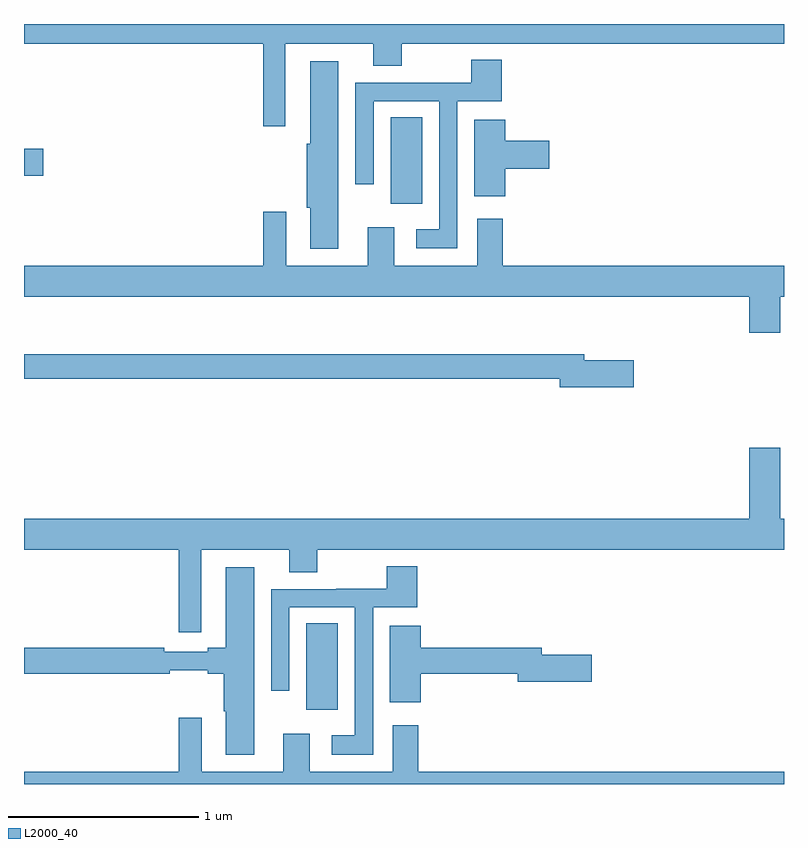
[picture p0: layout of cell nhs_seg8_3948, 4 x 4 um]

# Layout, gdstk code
import gdstk
lib = gdstk.Library(unit=1e-6, precision=1e-09)
def R(c, l, rs):  # rectangles x0, y0, x1, y1
    for r in rs: c.add(gdstk.rectangle(r[:2], r[2:], *l))
def P(c, l, *ps):  # polygons
    for p in ps: c.add(gdstk.Polygon(p, *l))
L2000_40 = (2000, 40)

nhs_seg8_3948 = lib.new_cell('nhs_seg8_3948')
R(nhs_seg8_3948, L2000_40, [(354.485,1150.29,354.652,1150.745), (354.929,1152.954,355.096,1153.409), (353,1153.102,353.101,1153.244)])
P(nhs_seg8_3948, L2000_40, [(354.376,1153.796),(354.839,1153.796),(354.839,1153.679),(354.987,1153.679),(354.987,1153.796),(357,1153.796),(357,1153.9),(353,1153.9),(353,1153.796),(354.259,1153.796),(354.259,1153.362),(354.376,1153.362)],
  [(355.281,1153.494),(355.514,1153.494),(355.514,1153.711),(355.354,1153.711),(355.354,1153.592),(355.088,1153.592),(355.088,1153.59),(354.744,1153.59),(354.744,1153.056),(354.84,1153.056),(354.84,1153.494),(355.185,1153.494),(355.185,1152.82),(355.065,1152.82),(355.065,1152.719),(355.281,1152.719)],
  [(354.655,1153.705),(354.506,1153.705),(354.506,1153.269),(354.488,1153.269),(354.488,1152.933),(354.506,1152.933),(354.506,1152.717),(354.655,1152.717)],
  [(355.532,1153.139),(355.765,1153.139),(355.765,1153.286),(355.532,1153.286),(355.532,1153.396),(355.37,1153.396),(355.37,1152.993),(355.532,1152.993)],
  [(356.98,1152.464),(357,1152.464),(357,1152.628),(355.52,1152.628),(355.52,1152.874),(355.385,1152.874),(355.385,1152.628),(354.949,1152.628),(354.949,1152.829),(354.809,1152.829),(354.809,1152.628),(354.379,1152.628),(354.379,1152.913),(354.258,1152.913),(354.258,1152.628),(353,1152.628),(353,1152.464),(356.816,1152.464),(356.816,1152.276),(356.98,1152.276)],
  [(356.209,1152.129),(355.948,1152.129),(355.948,1152.163),(353,1152.163),(353,1152.034),(355.82,1152.034),(355.82,1151.987),(356.209,1151.987)],
  [(353.932,1151.132),(354.395,1151.132),(354.395,1151.015),(354.543,1151.015),(354.543,1151.132),(357,1151.132),(357,1151.296),(356.98,1151.296),(356.98,1151.671),(356.816,1151.671),(356.816,1151.296),(353,1151.296),(353,1151.132),(353.815,1151.132),(353.815,1150.698),(353.932,1150.698)],
  [(354.837,1150.83),(355.07,1150.83),(355.07,1151.047),(354.91,1151.047),(354.91,1150.928),(354.644,1150.928),(354.644,1150.926),(354.3,1150.926),(354.3,1150.392),(354.396,1150.392),(354.396,1150.83),(354.741,1150.83),(354.741,1150.156),(354.621,1150.156),(354.621,1150.055),(354.837,1150.055)],
  [(354.211,1151.041),(354.062,1151.041),(354.062,1150.616),(353.966,1150.616),(353.966,1150.596),(353.738,1150.596),(353.738,1150.616),(353,1150.616),(353,1150.48),(353.766,1150.48),(353.766,1150.498),(353.966,1150.498),(353.966,1150.48),(354.05,1150.48),(354.05,1150.284),(354.062,1150.284),(354.062,1150.053),(354.211,1150.053)],
  [(355.088,1150.48),(355.598,1150.48),(355.598,1150.438),(355.987,1150.438),(355.987,1150.58),(355.726,1150.58),(355.726,1150.616),(355.088,1150.616),(355.088,1150.732),(354.926,1150.732),(354.926,1150.329),(355.088,1150.329)],
  [(357,1149.964),(355.076,1149.964),(355.076,1150.21),(354.941,1150.21),(354.941,1149.964),(354.505,1149.964),(354.505,1150.165),(354.365,1150.165),(354.365,1149.964),(353.935,1149.964),(353.935,1150.249),(353.814,1150.249),(353.814,1149.964),(353,1149.964),(353,1149.9),(357,1149.9)])

lib.write_gds('nhs_seg8_3948.gds')
